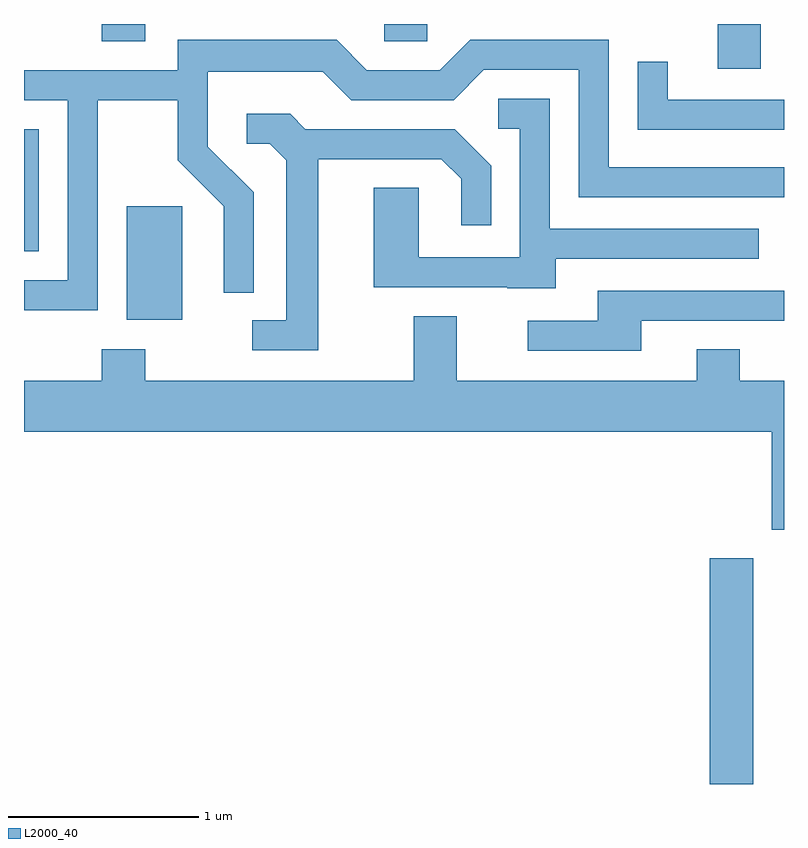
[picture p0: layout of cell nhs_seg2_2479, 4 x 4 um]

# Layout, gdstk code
import gdstk
lib = gdstk.Library(unit=1e-6, precision=1e-09)
def R(c, l, rs):  # rectangles x0, y0, x1, y1
    for r in rs: c.add(gdstk.rectangle(r[:2], r[2:], *l))
def P(c, l, *ps):  # polygons
    for p in ps: c.add(gdstk.Polygon(p, *l))
L2000_40 = (2000, 40)

nhs_seg2_2479 = lib.new_cell('nhs_seg2_2479')
R(nhs_seg2_2479, L2000_40, [(261.221,1039.802,261.449,1040.989), (258.151,1042.246,258.444,1042.844), (257.611,1042.606,257.689,1043.249), (261.261,1043.566,261.489,1043.802), (258.021,1043.711,258.249,1043.802), (259.506,1043.711,259.734,1043.802)])
P(nhs_seg2_2479, L2000_40, [(257.999,1043.401),(258.421,1043.401),(258.421,1043.084),(258.661,1042.844),(258.661,1042.388),(258.819,1042.388),(258.819,1042.917),(258.579,1043.157),(258.579,1043.551),(259.183,1043.551),(259.334,1043.401),(259.872,1043.401),(260.032,1043.561),(260.531,1043.561),(260.531,1042.891),(261.611,1042.891),(261.611,1043.049),(260.689,1043.049),(260.689,1043.719),(259.959,1043.719),(259.799,1043.559),(259.416,1043.559),(259.257,1043.719),(258.421,1043.719),(258.421,1043.559),(257.611,1043.559),(257.611,1043.401),(257.841,1043.401),(257.841,1042.454),(257.611,1042.454),(257.611,1042.296),(257.999,1042.296)],
  [(261.611,1043.404),(260.999,1043.404),(260.999,1043.603),(260.841,1043.603),(260.841,1043.246),(261.611,1043.246)],
  [(260.409,1042.566),(261.478,1042.566),(261.478,1042.724),(260.379,1042.724),(260.379,1043.409),(260.108,1043.409),(260.108,1043.251),(260.221,1043.251),(260.221,1042.574),(259.689,1042.574),(259.689,1042.939),(259.451,1042.939),(259.451,1042.416),(260.155,1042.416),(260.155,1042.411),(260.409,1042.411)],
  [(259.159,1043.091),(259.808,1043.091),(259.911,1042.988),(259.911,1042.743),(260.069,1042.743),(260.069,1043.056),(259.877,1043.249),(259.092,1043.249),(259.012,1043.329),(258.783,1043.329),(258.783,1043.171),(258.904,1043.171),(258.991,1043.084),(258.991,1042.244),(258.813,1042.244),(258.813,1042.086),(259.159,1042.086)],
  [(260.859,1042.241),(261.611,1042.241),(261.611,1042.399),(260.631,1042.399),(260.631,1042.239),(260.263,1042.239),(260.263,1042.081),(260.859,1042.081)],
  [(261.546,1041.141),(261.611,1041.141),(261.611,1041.924),(261.379,1041.924),(261.379,1042.089),(261.151,1042.089),(261.151,1041.924),(259.889,1041.924),(259.889,1042.264),(259.661,1042.264),(259.661,1041.924),(258.249,1041.924),(258.249,1042.089),(258.021,1042.089),(258.021,1041.924),(257.611,1041.924),(257.611,1041.656),(261.546,1041.656)])

lib.write_gds('nhs_seg2_2479.gds')
